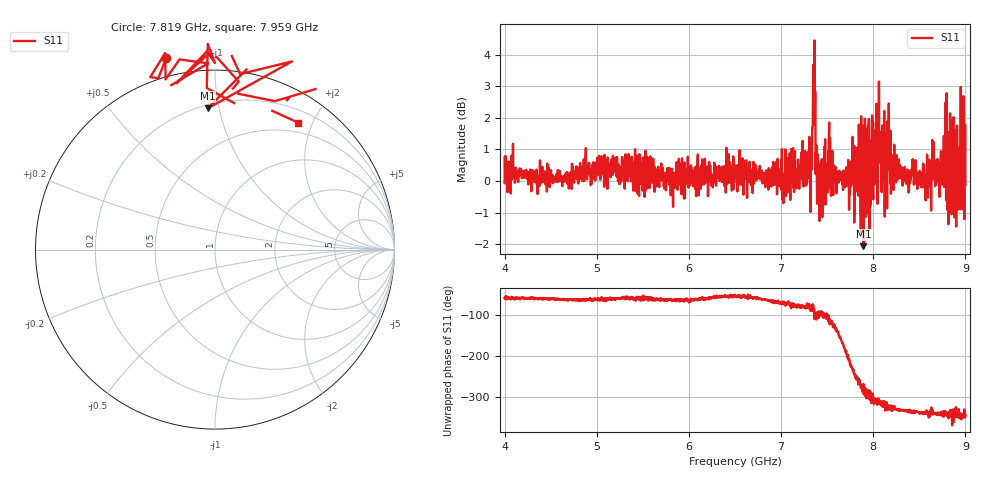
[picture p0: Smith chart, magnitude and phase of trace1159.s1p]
! Created with skrf 1.8.0 (http://scikit-rf.org).
# Hz S RI R 50.0
!freq ReS11 ImS11
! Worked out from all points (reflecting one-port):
!   1601 points, 4 GHz to 9 GHz, reference 50 ohm
!   lowest |S11| = -2.1 dB at 7.894 GHz (marker M1), VSWR 8.47, Z = 11.1 + j46.3 ohm
!   phase of S11 starts at -58 deg and turns -285 deg over the sweep
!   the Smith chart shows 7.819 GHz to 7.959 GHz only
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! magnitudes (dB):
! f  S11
! 4 GHz  -0.1
! 4.625 GHz  -0.2
! 5.25 GHz  0.0
! 5.875 GHz  0.3
! 6.5 GHz  0.5
! 7.038 GHz  0.0
! 7.125 GHz  0.1
! 7.306 GHz  1.4
! 7.347 GHz  3.3
! 7.359 GHz  2.9
! 7.4 GHz  0.7
! 7.428 GHz  -1.1
! 7.512 GHz  0.9
! 7.612 GHz  0.1
! 7.75 GHz  0.3
! 7.875 GHz  -0.5
! 7.894 GHz  -2.1
! 7.981 GHz  -0.2
! 8.009 GHz  0.9
! 8.022 GHz  0.5
! 8.088 GHz  0.4
! 8.375 GHz  0.2
! 8.578 GHz  0.2
! 8.809 GHz  0.8
! 8.828 GHz  -0.1
! 8.919 GHz  -0.1
! 8.959 GHz  2.2
! 9 GHz  -0.1
